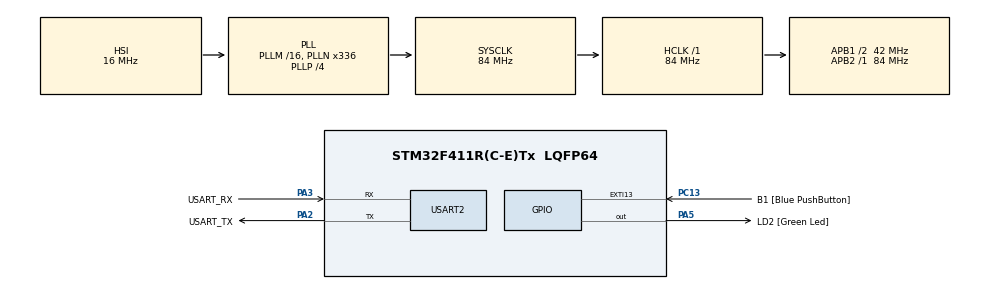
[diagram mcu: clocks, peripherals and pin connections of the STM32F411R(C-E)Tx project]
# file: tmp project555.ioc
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Dma.Request0=USART2_RX
Dma.USART2_RX.0.Direction=DMA_PERIPH_TO_MEMORY
Dma.USART2_RX.0.FIFOMode=DMA_FIFOMODE_DISABLE
Dma.USART2_RX.0.Instance=DMA1_Stream5
Dma.USART2_RX.0.MemDataAlignment=DMA_MDATAALIGN_BYTE
Dma.USART2_RX.0.MemInc=DMA_MINC_ENABLE
Dma.USART2_RX.0.Mode=DMA_NORMAL
Dma.USART2_RX.0.PeriphDataAlignment=DMA_PDATAALIGN_BYTE
Dma.USART2_RX.0.PeriphInc=DMA_PINC_DISABLE
Dma.USART2_RX.0.Priority=DMA_PRIORITY_LOW
Mcu.Family=STM32F4
Mcu.Name=STM32F411R(C-E)Tx
Mcu.Package=LQFP64
NVIC.DMA1_Stream5_IRQn=true\:0\:0\:false\:false\:true\:false\:true
NVIC.PriorityGroup=NVIC_PRIORITYGROUP_0
NVIC.TIM2_IRQn=true\:0\:0\:false\:false\:true\:true\:true
NVIC.USART2_IRQn=true\:0\:0\:false\:false\:true\:true\:true
PA13.GPIO_Label=TMS
PA13.Mode=Serial_Wire
PA13.Signal=SYS_JTMS-SWDIO
PA14.GPIO_Label=TCK
PA14.Mode=Serial_Wire
PA14.Signal=SYS_JTCK-SWCLK
PA2.GPIO_Label=USART_TX
PA2.Mode=Asynchronous
PA2.Signal=USART2_TX
PA3.GPIO_Label=USART_RX
PA3.Mode=Asynchronous
PA3.Signal=USART2_RX
PA5.GPIO_Label=LD2 [Green Led]
PA5.Signal=GPIO_Output
PB3.GPIO_Label=SWO
PB3.Signal=SYS_JTDO-SWO
PC13-ANTI_TAMP.GPIO_Label=B1 [Blue PushButton]
PC13-ANTI_TAMP.GPIO_ModeDefaultEXTI=GPIO_MODE_IT_FALLING
PC13-ANTI_TAMP.Signal=GPXTI13
PC14-OSC32_IN.Mode=LSE-External-Oscillator
PC14-OSC32_IN.Signal=RCC_OSC32_IN
PC15-OSC32_OUT.Mode=LSE-External-Oscillator
PC15-OSC32_OUT.Signal=RCC_OSC32_OUT
PH0\ -\ OSC_IN.Mode=HSE-External-Clock-Source
PH0\ -\ OSC_IN.Signal=RCC_OSC_IN
PH1\ -\ OSC_OUT.Mode=HSE-External-Clock-Source
PH1\ -\ OSC_OUT.Signal=RCC_OSC_OUT
ProjectManager.HeapSize=0x200
ProjectManager.StackSize=0x400
ProjectManager.TargetToolchain=STM32CubeIDE
RCC.48MHZClocksFreq_Value=84000000
RCC.AHBFreq_Value=84000000
RCC.APB1CLKDivider=RCC_HCLK_DIV2
RCC.APB1Freq_Value=42000000
RCC.APB1TimFreq_Value=84000000
RCC.APB2Freq_Value=84000000
RCC.APB2TimFreq_Value=84000000
RCC.CortexFreq_Value=84000000
RCC.FLatency-AdvancedSettings=FLASH_LATENCY_2
RCC.HCLKFreq_Value=84000000
RCC.HSE_VALUE=8000000
RCC.HSI_VALUE=16000000
RCC.PLLN=336
RCC.PLLP=RCC_PLLP_DIV4
RCC.SYSCLKFreq_VALUE=84000000
RCC.SYSCLKSource=RCC_SYSCLKSOURCE_PLLCLK
RCC.VCOOutputFreq_Value=336000000
TIM2.Period=2000
TIM2.Prescaler=35999
USART2.VirtualMode=VM_ASYNC
VP_TIM2_VS_ClockSourceINT.Mode=Internal
board=NUCLEO-F411RE

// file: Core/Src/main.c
/* USER CODE BEGIN Header */
/**
  ******************************************************************************
  * @file           : main.c
  * @brief          : Main program body
  ******************************************************************************
  * @attention
  *
  * <h2><center>&copy; Copyright (c) 2020 STMicroelectronics.
  * All rights reserved.</center></h2>
  *
  * This software component is licensed by ST under BSD 3-Clause license,
  * the "License"; You may not use this file except in compliance with the
  * License. You may obtain a copy of the License at:
  *                        opensource.org/licenses/BSD-3-Clause
  *
  ******************************************************************************
  */
/* USER CODE END Header */

#include "main.h"

TIM_HandleTypeDef htim2;

UART_HandleTypeDef huart2;
DMA_HandleTypeDef hdma_usart2_rx;

/* USER CODE BEGIN PV */
char display[25][80];
/* USER CODE END PV */

void SystemClock_Config(void);
static void MX_GPIO_Init(void);
static void MX_DMA_Init(void);
static void MX_USART2_UART_Init(void);
static void MX_TIM2_Init(void);

/* USER CODE BEGIN 0 */
int bombnumber = 0;
uint8_t rec_Data[1];
uint8_t rx_index = 0;
uint8_t rx_data;
uint8_t rx_buffer[20];

char stageOfGame[9][19];
char showTable[9][19];
int nowX = 0;
int nowY = 0;
int isChange = 0;
char keyBoard[1];
int isDied = 0;
//					1		2		3		4		5		6		7		8		9		10		11
int rand1[25][2] = {{0, 5}, {0, 8}, {0, 10},{0, 16},{1, 2}, {1, 5}, {1, 8}, {2, 0}, {2, 16},{4, 7}, {4, 13}, {4, 17},{5, 5},  {5, 17}, {6, 6},  {6, 7}, {6, 10}, {6, 11}, {6, 14},{7, 0},  {7, 6}, {8, 1},{8, 3},{8, 15},{8, 18}};
int rand2[19][2] = {{0 ,3}, {1 ,1}, {1 ,10}, {2 ,5}, {2 ,15}, {4 ,5}, {4 ,17}, {5 ,2}, {6 ,1}, {6 ,12}, {7 ,1}, {7 ,7}, {7 ,8}, {7 ,10}, {8 ,5}, {8 ,6}, {8 ,12}, {8 ,17}};
int rand3[22][2] = {{0 ,2}, {0 ,15}, {1 ,13}, {1 ,14}, {1 ,15}, {2 ,2}, {4 ,8}, {4 ,9}, {5 ,13}, {6 ,9}, {6 ,11}, {7 ,5}, {7 ,6}, {7 ,9}, {7 ,12}, {8 ,0}, {8 ,2}, {8 ,3}, {8 ,14}, {8 ,16}};
int rand4[18][2] = {{0 ,1}, {0 ,3}, {0 ,14}, {1 ,1}, {1 ,5}, {1 ,10}, {2 ,2}, {2 ,7}, {3 ,8}, {4 ,14}, {5 ,11}, {6 ,1}, {6 ,12}, {7 ,5}, {7 ,15}, {8 ,5}, {8 ,13}};
int rand5[20][2] = {{0 ,17}, {1 ,0}, {1 ,4}, {1 ,7}, {1 ,10}, {2 ,3}, {2 ,7}, {2 ,8}, {2 ,9}, {2 ,10}, {3 ,7}, {3 ,18}, {4 ,6}, {4 ,12}, {5 ,8}, {6 ,10}, {7 ,16}, {8 ,13}, {8 ,15}};
int randSize[] = {25, 18, 20, 17, 19};
int bombCount = 0;
int winCounter = 0;
int randCount = 0;
int isWinValue = 0;
int time = 0;
int isLose = 0;
int isPress[9][19];
int isStop = 1;
int isStart = 0; //0 is not start, 1 is already start
void HAL_TIM_PeriodElapsedCallback(TIM_HandleTypeDef *htim){
	if(htim->Instance == TIM2){
		if(isStop == 0){
			time++;
		}
	}
}
void HAL_UART_RxCpltCallback(UART_HandleTypeDef *huart){
	if(huart->Instance == USART2){
		HAL_UART_Receive_IT(&huart2, keyBoard, sizeof(keyBoard));
		if(isDied == 1 || isWinValue == 1){
			isDied = 0;
			isWinValue = 0;
			for(int i=0; i<9; i++){
				for(int j=0; j<19; j++){
					showTable[i][j] = '.';
				}
			}
		}
		clearDisplay();
		layout();
		if(keyBoard[0] == 'w'){
			if(nowY>0) nowY--;
			else if (nowY == 0) nowY = 8;
		}
		else if(keyBoard[0] == 'a'){
			if(nowX>0) nowX--;
			else if(nowX == 0) nowX = 18;
		}
		else if(keyBoard[0] == 's'){
			if(nowY<8) nowY++;
			else if(nowY == 8) nowY = 0;
		}
		else if(keyBoard[0] == 'd'){
			if(nowX<18) nowX++;
			else if(nowX == 18) nowX = 0;
		}
		else if(keyBoard[0] == 'l'){
			if(isStart == 0){
				isStart = 1;
				time = 0;
				isStop = 0;
			}
			if(stageOfGame[nowY][nowX] == '*'){
				randCount++;
				if(randCount == 5) randCount = 0;
				isDied = 1;
				isLose = 1;
			}
			else if(stageOfGame[nowY][nowX] == ' '){
				showTable[nowY][nowX] = ' ';
				bfs(nowX, nowY);
			}
			else{
				showTable[nowY][nowX] = stageOfGame[nowY][nowX];
			}
		}
		else if(keyBoard[0] == 'p'){
			if(isStart == 0){
				isStart = 1;
				time = 0;
				isStop = 0;
			}
			showTable[nowY][nowX] = 'F';
			if(stageOfGame[nowY][nowX] == '*' && isPress[nowY][nowX] == 0){
				bombCount--;
				isPress[nowY][nowX] = 1;
			}
		}
		show();

	}

}
int isWin(){
	char c[] = {'1','2','3','4','5','6','7','8'};
	int count = 0;
	for(int i=0; i<9; i++){
		for(int j=0; j<19; j++){
			if(showTable[i][j] == ' ' || isIn(c, showTable[i][j], 8) == 1){
				count++;
			}
		}
	}
	if(count == (171 - randSize[randCount])) return 1;
	else return 0;
}
int isIn(char a[], int x, int length){
	for(int i=0; i<length; i++){
		if(a[i] == x) return 1;
	}
	return 0;
}
void bfs(int x, int y){
	int queue[200][2];
	int pointerLeft = 0;
	int pointerRight = 1;
	int move[8][2] = {{0, 1}, {0, -1}, {1, 0}, {-1, 0}, {1, 1}, {1, -1}, {-1, 1}, {-1, -1}};
	queue[0][0] = y;
	queue[0][1] = x;
	while(pointerLeft<pointerRight){
		int myY = queue[pointerLeft][0];
		int myX = queue[pointerLeft][1];
		pointerLeft++;
		for(int i=0; i<8; i++){
			int tmpX = move[i][0] + myX;
			int tmpY = move[i][1] + myY;
			if(tmpX>=0 && tmpY>=0 && tmpX<19 && tmpY<9 && stageOfGame[tmpY][tmpX] != '*' && showTable[tmpY][tmpX] == '.'){
				if(stageOfGame[tmpY][tmpX] == ' '){
					queue[pointerRight][0] = tmpY;
					queue[pointerRight][1] = tmpX;
					pointerRight++;
				}
				showTable[tmpY][tmpX] = stageOfGame[tmpY][tmpX];
			}
		}
	}
}
void setBomb(){
	for(int i=0; i<9; i++){
		for(int j=0; j<19; j++){
			isPress[i][j] = 0;
		}
	}
	bombCount = randSize[randCount];
	for(int i=0; i<9; i++){
		for(int j=0; j<19; j++) stageOfGame[i][j] = ' ';
	}
	if(randCount % 5 == 0){
		for(int i=0; i<randSize[randCount]; i++){
				stageOfGame[rand1[i][0]][rand1[i][1]] = '*';
		}
	}
	else if(randCount % 5 == 1){
		for(int i=0; i<randSize[randCount]; i++){
			stageOfGame[rand2[i][0]][rand2[i][1]] = '*';
		}
	}
	else if(randCount % 5 == 2){
		for(int i=0; i<randSize[randCount]; i++){
			stageOfGame[rand3[i][0]][rand3[i][1]] = '*';
		}
	}
	else if(randCount % 5 == 3){
		for(int i=0; i<randSize[randCount]; i++){
			stageOfGame[rand4[i][0]][rand4[i][1]] = '*';
		}
	}
	else if(randCount % 5 == 4){
		for(int i=0; i<randSize[randCount]; i++){
			stageOfGame[rand5[i][0]][rand5[i][1]] = '*';
		}
	}
	for(int i=0; i<9; i++){
		for(int j=0; j<19; j++){
			int m = 0;
			if(stageOfGame[i][j] != '*'){
				if(i-1>=0 && stageOfGame[i-1][j] == '*') m++;
				if(i+1<9 && stageOfGame[i+1][j] == '*') m++;
				if(j-1>=0 && stageOfGame[i][j-1] == '*') m++;
				if(j+1<19 && stageOfGame[i][j+1] == '*') m++;
				if(i-1>=0 && j-1>=0 && stageOfGame[i-1][j-1] == '*') m++;
				if(i-1>=0 && j+1<19 && stageOfGame[i-1][j+1] == '*') m++;
				if(i+1<9 && j-1>=0 && stageOfGame[i+1][j-1] == '*') m++;
				if(i+1<9 && j+1<19 && stageOfGame[i+1][j+1] == '*') m++;
				if(m>0){
					char c = m + '0';
					stageOfGame[i][j] = c;
				}
				else{
					stageOfGame[i][j] = ' ';
				}
			}
		}
	}
}
void clearDisplay(){
	char clear[9] = {'A', 27, '[', '2', 'J', 27, '[', 'H'};
	for(int i=0; i<8; i++){
		char tmp[1];
		tmp[0] = clear[i];
		HAL_UART_Transmit(&huart2, tmp, sizeof(tmp), 100000);
	}

}
void startLayout(){
	setBomb();
	for(int i=0; i<25; i++){
		for(int j=0; j<80; j++){
			display[i][j] = ' ';
		}
	}
	char *ch0 = ",-.-.o          ,---.                              ";
	char *ch1 = "| | |.,---.,---.`---.. . .,---.,---.,---.,---.,---.";
	char *ch2 = "| | |||   ||---'    || | ||---'|---'|   ||---'|    ";
	char *ch3 = "` ' '``   '`---'`---'`-'-'`---'`---'|---'`---'`    ";
	char *ch4 = "                                    |              ";

	for(int i=0; i<51; i++){
		display[8][i+15] = ch0[i];
		display[9][i+15] = ch1[i];
		display[10][i+15] = ch2[i];
		display[11][i+15] = ch3[i];
		display[12][i+15] = ch4[i];
	}
	for(int i=0; i<9; i++){
		for(int j=0; j<19; j++){
			showTable[i][j] = '.';
		}
	}
	char *ch8 = "Press any key to continue!!!";
	for(int i=0; i<28; i++){
		display[23][i+26] = ch8[i];
	}
	for(int i=0; i<25; i++){
		for(int j=0; j<80; j++){
			char tmp[1];
			tmp[0] = display[i][j];
			HAL_UART_Transmit(&huart2, tmp, sizeof(tmp), 100000);
		}
	}

}
void youLose(){
	setBomb();
	nowX = 0;
	nowY = 0;
	for(int i=0; i<4; i++){
		for(int j=0; j<50; j++){
			display[i][j] = ' ';
		}
	}
	for(int i=0; i<80; i++){
		display[0][i] = ' ';
	}
	char *ch0 =  " __ __            __                ";
	char *ch1 =  "|  |  |___ _ _   |  |   ___ ___ ___ ";
	char *ch2 =  "|_   _| . | | |  |  |__| . |_ -| -_|";
	char *ch3 =  "  |_| |___|___|  |_____|___|___|___|";

	for(int i=0; i<36; i++){
			display[0][i+5] = ch0[i];
			display[1][i+5] = ch1[i];
			display[2][i+5] = ch2[i];
			display[3][i+5] = ch3[i];
	}
	char *ch8 = "Press enter to continue!!!";
	for(int i=0; i<28; i++){
		display[23][i+26] = ch8[i];
	}

}
void youWin(){
	setBomb();
	nowX = 0;
	nowY = 0;
	for(int i=0; i<4; i++){
		for(int j=0; j<50; j++){
			display[i][j] = ' ';
		}
	}
	for(int i=0; i<80; i++){
		display[0][i] = ' ';
	}
	char *ch0 = " __ __            _ _ _ _     ";
	char *ch1 = "|  |  |___ _ _   | | | |_|___ ";
	char *ch2 = "|_   _| . | | |  | | | | |   |";
	char *ch3 = "  |_| |___|___|  |_____|_|_|_|";

	for(int i=0; i<30; i++){
				display[0][i+5] = ch0[i];
				display[1][i+5] = ch1[i];
				display[2][i+5] = ch2[i];
				display[3][i+5] = ch3[i];

		}
		char *ch8 = "Press any key to continue!!!";
		for(int i=0; i<28; i++){
			display[20][i+26] = ch8[i];
		}

}
void layout(){
	for(int i=0; i<25; i++){
		for(int j=0; j<80; j++){
			display[i][j] = ' ';
		}
	}
	for(int i=0; i<80; i++){
		display[0][i] = ' ';
		display[79][i] = ' ';
	}
	for(int i=0; i<25; i++){
		display[i][0] = ' ';
		display[i][24] = ' ';
	}
	for(int i=1; i<79; i++){
		display[0][i] = '-';
		display[24][i] = '-';
	}
	for(int i=0; i<23; i++){
		for(int j=0; j<80; j++){
			if(i>=4 && i%2==0 && j<78 && j>=1){
				if(j%4==1) display[i][j] = '|';
				else display[i][j] = '-';
			}

			else if(i>=5 && j%4==1 && j<79 && i%2==1) display[i][j] = '|';
		}
	}
	display[2][36] = '(';
	display[2][37] = '^';
	display[2][38] = '_';
	display[2][39] = '^';
	display[2][40] = ')';
	char number[13] = {'B', 'o', 'm', 'b', ' ', 'n', 'u', 'm', 'b', 'e', 'r', ' ',':'};
	for(int i=0; i<13; i++){
		display[2][i+6] = number[i];
	}

	/*char location[] = "Now you are at (";
	for(int i=0; i<16; i++){
		display[2][i+50] = location[i];
	}*/

}
void show(){
	if(isDied == 0){
		for(int i=0; i<9; i++){
				for(int j=0; j<19; j++){
					display[mapY(i)][mapX(j)] = showTable[i][j];
				}
			}
	}
	else{
		for(int i=0; i<9; i++){
			for(int j=0; j<19; j++){
				display[mapY(i)][mapX(j)] = stageOfGame[i][j];
			}
		}
	}
	if(bombCount < 10){
		display[2][20] = '0';
		char cppp = bombCount + '0';
		display[2][21] = cppp;
	}
	else{
		int p = bombCount / 10;
		char pp = p+ '0';
		int q = bombCount % 10;
		char qq = q+ '0';
		display[2][20] = pp;
		display[2][21] = qq;
	}
	int y = mapY(nowY);
	int x = mapX(nowX);
	display[y][x-2] = '$';
	display[y][x+2] = '$';
	display[y-1][x] = '$';
	display[y+1][x] = '$';
	int tmpTime = time;

	/*int tmpX = nowX + 1;
	int tmpY = nowY + 1;
	if(tmpX<10){
		display[2][66] = '0';
		char c = tmpX + '0';
		display[2][67] = c;
	}
	else{
		display[2][66] = '1';
		tmpX -= 10;
		char c = tmpX + '0';
		display[2][67] = c;
	}
	display[2][68] = ',';
	display[2][69] = ' ';
	if(tmpY<10){
		display[2][70] = '0';
		char c = tmpY + '0';
		display[2][71] = c;
	}
	else{
		display[2][70] = '1';
		tmpY -= 10;
		char c = tmpY + '0';
		display[2][71] = c;
	}

	display[2][72] = ')';*/
	for(int i=0; i<9; i++){
			for(int j=0; j<19; j++){
				if(showTable[i][j] == '.'){
					display[mapY(i)][mapX(j)] = '.';
					display[mapY(i)][mapX(j)+1] = '.';
					display[mapY(i)][mapX(j)-1] = '.';
				}
			}
		}
	if(isDied == 1 && isLose == 1){
		time = 0;
		isStart = 0;
		isStop = 1;
		for(int i=0; i<9; i++){
			for(int j=0; j<19; j++){
				if(stageOfGame[i][j] == '*'){
					display[mapY(i)][mapX(j)] = '*';
					display[mapY(i)][mapX(j)-1] = ' ';
					display[mapY(i)][mapX(j)+1] = ' ';
				}
			}
		}
		youLose();
	}
	else if(isWin() == 1){
		time = 0;
		isStart = 0;
		isStop = 1;
		randCount++;
		if(randCount == 5) randCount = 0;
		isWinValue = 1;
		for(int i=0; i<9; i++){
			for(int j=0; j<19; j++){
				if(stageOfGame[i][j] == '*'){
					display[mapY(i)][mapX(j)] = '*';
					display[mapY(i)][mapX(j)-1] = ' ';
					display[mapY(i)][mapX(j)+1] = ' ';
				}
			}
		}
		youWin();
	}
	char *yourTime = "Your time is : ";
	for(int i=0; i<15; i++){
		display[2][50+i] =  yourTime[i];
	}
	if(tmpTime<1000){
			display[2][65] = '0';
		}
		else{
			int t = tmpTime / 1000;
			tmpTime %= 1000;
			char c = t + '0';
			display[2][65] = c;
		}
		if(tmpTime<100){
			display[2][66] = '0';
		}
		else{
			int t = tmpTime / 100;
			tmpTime %= 100;
			char c = t + '0';
			display[2][66] = c;
		}
		if(tmpTime<10){
			display[2][67] = '0';
		}
		else{
			int t = tmpTime / 10;
			tmpTime %= 10;
			char c = t + '0';
			display[2][67] = c;
		}
		char pppp = tmpTime + '0';
		display[2][68] = pppp;
	for(int i=0; i<25; i++){
		for(int j=0; j<80; j++){
			char tmp[1];
			tmp[0] = display[i][j];
			HAL_UART_Transmit(&huart2, tmp, sizeof(tmp), 100000);
		}
	}

}
int mapX(int x){
	return 4*x+3;
}
int mapY(int y){
	return 2*y+5;
}
/* USER CODE END 0 */

int main(void)
{

  /* MCU Configuration--------------------------------------------------------*/

  /* Reset of all peripherals, Initializes the Flash interface and the Systick. */
  HAL_Init();

  /* Configure the system clock */
  SystemClock_Config();

  /* Initialize all configured peripherals */
  MX_GPIO_Init();
  MX_DMA_Init();
  MX_USART2_UART_Init();
  MX_TIM2_Init();
  /* USER CODE BEGIN 2 */
  __HAL_UART_ENABLE_IT(&huart2, UART_IT_RXNE);
  HAL_TIM_Base_Start_IT(&htim2);
  clearDisplay();
  startLayout();
  /* USER CODE END 2 */

  /* Infinite loop */
  while (1)
  {

  }
}

void SystemClock_Config(void)
{
  RCC_OscInitTypeDef RCC_OscInitStruct = {0};
  RCC_ClkInitTypeDef RCC_ClkInitStruct = {0};

  /** Configure the main internal regulator output voltage
  */
  __HAL_RCC_PWR_CLK_ENABLE();
  __HAL_PWR_VOLTAGESCALING_CONFIG(PWR_REGULATOR_VOLTAGE_SCALE1);
  /** Initializes the CPU, AHB and APB busses clocks
  */
  RCC_OscInitStruct.OscillatorType = RCC_OSCILLATORTYPE_HSI;
  RCC_OscInitStruct.HSIState = RCC_HSI_ON;
  RCC_OscInitStruct.HSICalibrationValue = RCC_HSICALIBRATION_DEFAULT;
  RCC_OscInitStruct.PLL.PLLState = RCC_PLL_ON;
  RCC_OscInitStruct.PLL.PLLSource = RCC_PLLSOURCE_HSI;
  RCC_OscInitStruct.PLL.PLLM = 16;
  RCC_OscInitStruct.PLL.PLLN = 336;
  RCC_OscInitStruct.PLL.PLLP = RCC_PLLP_DIV4;
  RCC_OscInitStruct.PLL.PLLQ = 4;
  if (HAL_RCC_OscConfig(&RCC_OscInitStruct) != HAL_OK)
  {
    Error_Handler();
  }
  /** Initializes the CPU, AHB and APB busses clocks
  */
  RCC_ClkInitStruct.ClockType = RCC_CLOCKTYPE_HCLK|RCC_CLOCKTYPE_SYSCLK
                              |RCC_CLOCKTYPE_PCLK1|RCC_CLOCKTYPE_PCLK2;
  RCC_ClkInitStruct.SYSCLKSource = RCC_SYSCLKSOURCE_PLLCLK;
  RCC_ClkInitStruct.AHBCLKDivider = RCC_SYSCLK_DIV1;
  RCC_ClkInitStruct.APB1CLKDivider = RCC_HCLK_DIV2;
  RCC_ClkInitStruct.APB2CLKDivider = RCC_HCLK_DIV1;

  if (HAL_RCC_ClockConfig(&RCC_ClkInitStruct, FLASH_LATENCY_2) != HAL_OK)
  {
    Error_Handler();
  }
}

static void MX_TIM2_Init(void)
{

  TIM_ClockConfigTypeDef sClockSourceConfig = {0};
  TIM_MasterConfigTypeDef sMasterConfig = {0};

  htim2.Instance = TIM2;
  htim2.Init.Prescaler = 35999;
  htim2.Init.CounterMode = TIM_COUNTERMODE_UP;
  htim2.Init.Period = 2000;
  htim2.Init.ClockDivision = TIM_CLOCKDIVISION_DIV1;
  htim2.Init.AutoReloadPreload = TIM_AUTORELOAD_PRELOAD_DISABLE;
  if (HAL_TIM_Base_Init(&htim2) != HAL_OK)
  {
    Error_Handler();
  }
  sClockSourceConfig.ClockSource = TIM_CLOCKSOURCE_INTERNAL;
  if (HAL_TIM_ConfigClockSource(&htim2, &sClockSourceConfig) != HAL_OK)
  {
    Error_Handler();
  }
  sMasterConfig.MasterOutputTrigger = TIM_TRGO_RESET;
  sMasterConfig.MasterSlaveMode = TIM_MASTERSLAVEMODE_DISABLE;
  if (HAL_TIMEx_MasterConfigSynchronization(&htim2, &sMasterConfig) != HAL_OK)
  {
    Error_Handler();
  }

}

static void MX_USART2_UART_Init(void)
{

  huart2.Instance = USART2;
  huart2.Init.BaudRate = 115200;
  huart2.Init.WordLength = UART_WORDLENGTH_8B;
  huart2.Init.StopBits = UART_STOPBITS_1;
  huart2.Init.Parity = UART_PARITY_NONE;
  huart2.Init.Mode = UART_MODE_TX_RX;
  huart2.Init.HwFlowCtl = UART_HWCONTROL_NONE;
  huart2.Init.OverSampling = UART_OVERSAMPLING_16;
  if (HAL_UART_Init(&huart2) != HAL_OK)
  {
    Error_Handler();
  }

}

static void MX_DMA_Init(void)
{

  /* DMA controller clock enable */
  __HAL_RCC_DMA1_CLK_ENABLE();

  /* DMA interrupt init */
  /* DMA1_Stream5_IRQn interrupt configuration */
  HAL_NVIC_SetPriority(DMA1_Stream5_IRQn, 0, 0);
  HAL_NVIC_EnableIRQ(DMA1_Stream5_IRQn);

}

static void MX_GPIO_Init(void)
{
  GPIO_InitTypeDef GPIO_InitStruct = {0};

  /* GPIO Ports Clock Enable */
  __HAL_RCC_GPIOC_CLK_ENABLE();
  __HAL_RCC_GPIOH_CLK_ENABLE();
  __HAL_RCC_GPIOA_CLK_ENABLE();
  __HAL_RCC_GPIOB_CLK_ENABLE();

  /*Configure GPIO pin Output Level */
  HAL_GPIO_WritePin(LD2_GPIO_Port, LD2_Pin, GPIO_PIN_RESET);

  /*Configure GPIO pin : B1_Pin */
  GPIO_InitStruct.Pin = B1_Pin;
  GPIO_InitStruct.Mode = GPIO_MODE_IT_FALLING;
  GPIO_InitStruct.Pull = GPIO_NOPULL;
  HAL_GPIO_Init(B1_GPIO_Port, &GPIO_InitStruct);

  /*Configure GPIO pin : LD2_Pin */
  GPIO_InitStruct.Pin = LD2_Pin;
  GPIO_InitStruct.Mode = GPIO_MODE_OUTPUT_PP;
  GPIO_InitStruct.Pull = GPIO_NOPULL;
  GPIO_InitStruct.Speed = GPIO_SPEED_FREQ_LOW;
  HAL_GPIO_Init(LD2_GPIO_Port, &GPIO_InitStruct);

}

void Error_Handler(void)
{
}

/************************ (C) COPYRIGHT STMicroelectronics *****END OF FILE****/
